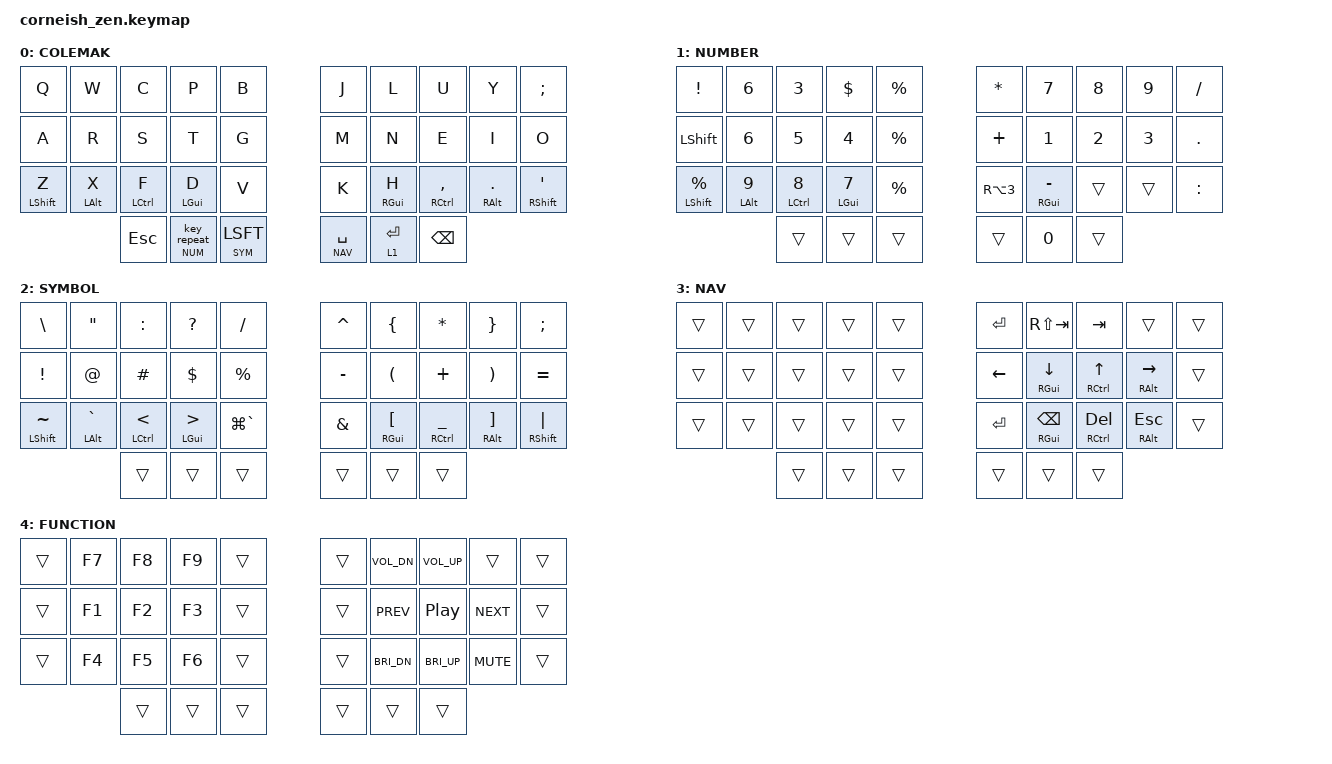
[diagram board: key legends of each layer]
#include <behaviors.dtsi>
#include <dt-bindings/zmk/keys.h>
#include <dt-bindings/zmk/bt.h>

#define DEFAULT 0
#define NUM 1
#define SYM 2
#define NAV 3
#define FUNC 4

/ {
  chosen {
    // zmk,matrix_transform = &default_transform;
    zmk,matrix_transform = &five_column_transform;
  };
};

&lt {
        flavor = "balanced";
};

&sk {
        quick-release;
};

/ {
        behaviors {
                rm: row_mod {
                        compatible = "zmk,behavior-hold-tap";
                        label = "ROW_MOD";
                        flavor = "balanced";
                        tapping-term-ms = <150>;
                        quick-tap-ms = <100>;
                        global-quick-tap;
                        #binding-cells = <2>;
                        bindings = <&kp>, <&kp>;
                };
                ls: layer_sticky {
                        compatible = "zmk,behavior-hold-tap";
                        label = "LAYER_STICKY";
                        flavor = "balanced";
                        tapping-term-ms = <150>;
                        quick-tap-ms = <100>;
                        #binding-cells = <2>;
                        bindings = <&mo>, <&sk>;
                };
                lrpt: layer_repeat {
                        compatible = "zmk,behavior-hold-tap";
                        label = "LAYER_REPEAT";
                        flavor = "balanced";
                        tapping-term-ms = <150>;
                        quick-tap-ms = <100>;
                        #binding-cells = <2>;
                        bindings = <&mo>, <&key_repeat>;
                };
        };

        conditional_layers {
                compatible = "zmk,conditional-layers";
                tri_layer {
                        if-layers = <SYM NAV>;
                        then-layer = <FUNC>;
                };
        };

        keymap {
                compatible = "zmk,keymap";

                default_layer {
                        label = "COLEMAK";
                        bindings = <
   &kp Q       &kp W       &kp C        &kp P         &kp B     &kp J    &kp L      &kp U           &kp Y        &kp SEMI
   &kp A       &kp R       &kp S        &kp T         &kp G     &kp M    &kp N      &kp E           &kp I        &kp O
   &rm LSHFT Z &rm LALT X  &rm LCTRL F  &rm LGUI D    &kp V     &kp K    &rm RGUI H &rm RCTRL COMMA &rm RALT DOT &rm RSHFT APOS
   &kp ESC     &lrpt NUM 0 &ls SYM LSFT &lt NAV SPACE &lt 1 RET &kp BSPC
                        >;
                };

                num_layer {
                        label = "NUMBER";
                        bindings = <
   &kp EXCL        &kp N6      &kp N3       &kp DLLR    &kp PRCNT &kp ASTRK  &kp N7         &kp N8       &kp N9      &kp FSLH
   &kp LSHFT       &kp N6      &kp N5       &kp N4      &kp PRCNT &kp PLUS   &kp N1         &kp N2 &kp N3 &kp DOT
   &rm LSHFT PRCNT &rm LALT N9 &rm LCTRL N8 &rm LGUI N7 &kp PRCNT &kp RA(N3) &rm RGUI MINUS &trans       &trans      &kp COLON
   &trans    &trans      &trans      &trans      &kp N0    &trans
                        >;
                };

                sym_layer {
                        label = "SYMBOL";
                        bindings = <
   &kp BSLH        &kp DQT        &kp COLON    &kp QMARK   &kp FSLH      &kp CARET &kp LBRC      &kp ASTRK       &kp RBRC      &kp SEMI
   &kp EXCL        &kp AT         &kp HASH     &kp DLLR    &kp PRCNT     &kp MINUS &kp LPAR      &kp PLUS        &kp RPAR      &kp EQUAL
   &rm LSHFT TILDE &rm LALT GRAVE &rm LCTRL LT &rm LGUI GT &kp LG(GRAVE) &kp AMPS  &rm RGUI LBKT &rm RCTRL UNDER &rm RALT RBKT &rm RSHFT PIPE
   &trans    &trans  &trans    &trans    &trans    &trans
                        >;
                };

                nav_layer {
                        label = "NAV";
                        bindings = <
   &trans &trans &trans &trans &trans &kp ENTER &kp RS(TAB)   &kp TAB       &trans         &trans
   &trans &trans &trans &trans &trans &kp LEFT  &rm RGUI DOWN &rm RCTRL UP  &rm RALT RIGHT &trans
   &trans &trans &trans &trans &trans &kp ENTER &rm RGUI BSPC &rm RCTRL DEL &rm RALT ESC   &trans
   &trans &trans &trans &trans &trans &trans
                        >;
                };

                func_layer {
                        label = "FUNCTION";
                        bindings = <
   &trans &kp F7 &kp F8 &kp F9 &trans &trans &kp C_VOL_DN &kp C_VOL_UP &trans     &trans
   &trans &kp F1 &kp F2 &kp F3 &trans &trans &kp C_PREV   &kp C_PP     &kp C_NEXT &trans
   &trans &kp F4 &kp F5 &kp F6 &trans &trans &kp C_BRI_DN &kp C_BRI_UP &kp C_MUTE &trans
   &trans &trans &trans &trans &trans &trans
                        >;
                };
        };

        combos {
                compatible = "zmk,combos";
                // RIGHT HAND
                // symbols
                combo_q {
                        key-positions = <27 28>;
                        bindings = <&rm RC(RALT) QMARK>;
                };
                combo_underscore {
                        key-positions = <26 27>;
                        bindings = <&rm RG(RCTRL) UNDERSCORE>;
                };
                combo_minus {
                        key-positions = <16 17>;
                        bindings = <&kp MINUS>;
                        timeout-ms = <30>;
                };
                combo_dquot {
                        key-positions = <17 18>;
                        bindings = <&kp DOUBLE_QUOTES>;
                };
                combo_fslash {
                        key-positions = <16 7>;
                        bindings = <&kp FSLH>;
                        timeout-ms = <30>;
                };
                combo_bslash {
                        key-positions = <7 18>;
                        bindings = <&kp BSLH>;
                };
                combo_eq {
                        key-positions = <26 29>;
                        bindings = <&rm RG(RSHFT) EQUAL>;
                };
                combo_colon {
                        key-positions = <26 27 28>;
                        bindings = <&kp COLON>;
                };
                combo_lbkt {
                        key-positions = <26 28>;
                        bindings = <&rm RG(RALT) LBKT>;
                };
                combo_rbkt {
                        key-positions = <27 29>;
                        bindings = <&rm RC(RSHFT) RBKT>;
                };

                // control
                combo_capsword {
                        key-positions = <16 17 18>;
                        bindings = <&caps_word>;
                };

                // numbers
                combo_1 {
                        key-positions = <6 7>;
                        bindings = <&kp N1>;
                        timeout-ms = <30>;
                };
                combo_2 {
                        key-positions = <6 8>;
                        bindings = <&kp N2>;
                        timeout-ms = <30>;
                };
                combo_3 {
                        key-positions = <6 7 8>;
                        bindings = <&kp N3>;
                };
                combo_0 {
                        key-positions = <7 8>;
                        bindings = <&kp N0>;
                };

                // LEFT HAND
                combo_dollar {
                        key-positions = <12 13>;
                        bindings = <&kp DOLLAR>;
                        timeout-ms = <30>;
                };
                combo_grave {
                        key-positions = <21 22>;
                        bindings = <&rm LC(LALT) GRAVE>;
                };
                combo_at {
                        key-positions = <16 17>;
                        bindings = <&kp AT>;
                        timeout-ms = <30>;
                };
        };
};
